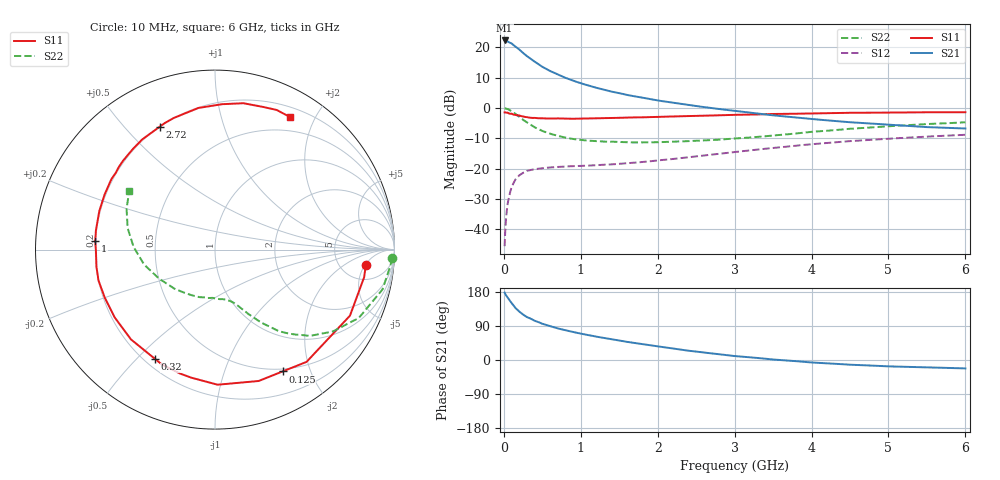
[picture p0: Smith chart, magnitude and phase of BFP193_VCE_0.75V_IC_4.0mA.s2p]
! Infineon Technologies  Discrete & RF Semiconductors
! BFP193
! VCE = 0.75V,  IC =  4.0 mA
! Common Emitter S-Parameters:  Jan 2016
# GHz  S  MA  R  50
!  f  S11  S21  S12  S22
! GHz  MAG  ANG  MAG  ANG  MAG  ANG  MAG  ANG
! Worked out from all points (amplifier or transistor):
!   210 points, 10 MHz to 6 GHz, reference 50 ohm
!   highest |S21| = 22.2 dB at 10 MHz (marker M1)
!   |S21| within 3 dB of that: start of sweep to 201.4 MHz
!   unconditionally stable (mu >= 1): 1.301 GHz to 4.279 GHz; 5.916 GHz to end of sweep
!   at 185 MHz: K = 0.19, MSG = 21.1 dB, |S12| = -22.6 dB
!   at 1.52 GHz: K = 1.09, MAG = 9.7 dB, |S12| = -18.4 dB
!   at 6 GHz: K = 1.00, MAG = 0.8 dB, |S12| = -8.8 dB
!   S11 on the Smith chart (normalised r, x): 10 MHz: 9, -5; 125 MHz: 0.47, -1.60; 320 MHz: 0.24, -0.57; 1 GHz: 0.20, +0.03; 2.72 GHz: 0.20, +0.63; 6 GHz: 0.31, +1.67
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0.01  0.8449 -5.7  12.88 177.8  0.0053 87.1  0.9867 -2.8
0.02  0.8451 -10.5  12.59 173.3  0.0104 85.6  0.9816 -5.3
0.05  0.8372 -26.1  12.41 164.3  0.0266 76.4  0.9591 -13.4
0.1  0.8071 -50.8  11.53 150.3  0.0494 64.7  0.8873 -25.4
0.125  0.7763 -61.0  10.83 144.2  0.0575 58.7  0.8405 -29.9
0.15  0.7714 -71.6  10.26 137.4  0.0661 54.3  0.7993 -34.8
0.2  0.7529 -88.9  9.156 127.9  0.0775 47.1  0.7143 -42.3
0.26  0.7175 -105.8  7.825 118.5  0.0869 40.1  0.6242 -48.6
0.32  0.6951 -118.6  6.838 111.7  0.0932 35.7  0.5584 -52.9
0.4  0.6852 -133.1  5.777 103.6  0.0982 31.0  0.4805 -57.7
0.5  0.6747 -146.0  4.748 95.6  0.1019 27.6  0.4176 -61.7
0.6  0.67 -156.5  4.058 89.1  0.1047 25.6  0.376 -64.5
0.8  0.6674 -171.7  3.13 78.5  0.1088 23.7  0.324 -69.3
1  0.6688 175.9  2.544 69.5  0.111 23.9  0.2971 -73.9
1.02  0.669 174.9  2.501 68.8  0.1113 24.0  0.2954 -74.4
1.4  0.6819 157.7  1.854 54.7  0.1175 25.9  0.2782 -83.9
2.02  0.7132 135.3  1.314 35.3  0.1374 31.6  0.2727 -102.5
2.72  0.7513 114.3  0.987 17.0  0.1712 33.9  0.2959 -126.4
3.1  0.7715 105.2  0.865 8.8  0.1938 33.0  0.319 -139.7
4.1  0.8137 85.5  0.64 -7.6  0.2586 26.1  0.4117 -171.1
5.1  0.8393 71.1  0.521 -17.3  0.3164 15.4  0.5079 163.9
6  0.8489 60.6  0.458 -22.2  0.361 5.0  0.5796 145.5
